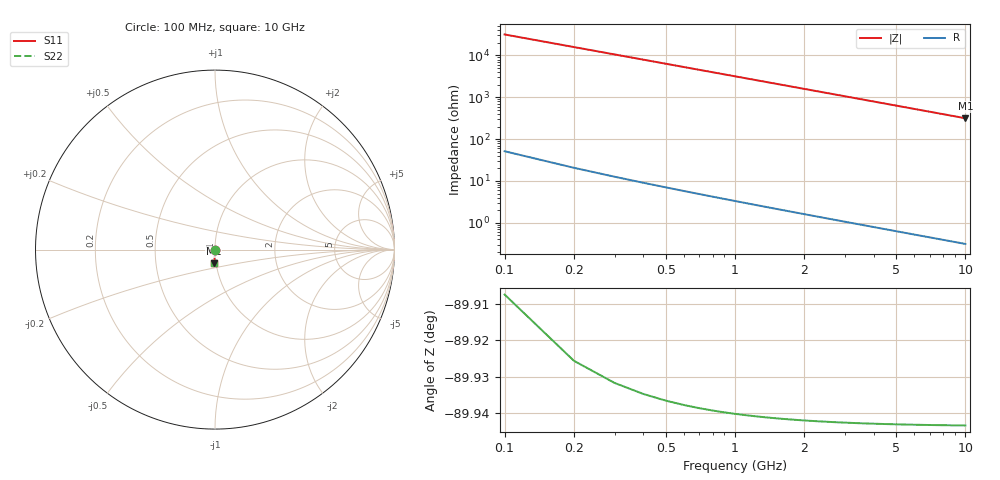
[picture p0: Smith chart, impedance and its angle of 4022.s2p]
# Hz S RI R 50.00
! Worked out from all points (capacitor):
!   100 points, 100 MHz to 10 GHz, reference 50 ohm
!   read as one part in shunt: C = 50.2 fF near 100 MHz
!   lowest |Z| = 315 ohm at 10 GHz (marker M1)
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1e8  9.64e-06 -0.000757  1 -0.000819  1 -0.000819  9.64e-06 -0.000757
2e8  7.09e-06 -0.00151  1 -0.00164  1 -0.00164  7.09e-06 -0.00151
3e8  3.28e-06 -0.00227  1 -0.00246  1 -0.00246  3.28e-06 -0.00227
4e8  -1.79e-06 -0.00303  1 -0.00328  1 -0.00328  -1.79e-06 -0.00303
5e8  -8.1e-06 -0.00379  1 -0.0041  1 -0.0041  -8.1e-06 -0.00379
6e8  -1.57e-05 -0.00454  1 -0.00491  1 -0.00491  -1.57e-05 -0.00454
7e8  -2.45e-05 -0.0053  1 -0.00573  1 -0.00573  -2.45e-05 -0.0053
8e8  -3.45e-05 -0.00606  0.9999 -0.00655  0.9999 -0.00655  -3.45e-05 -0.00606
9e8  -4.58e-05 -0.00681  0.9999 -0.00737  0.9999 -0.00737  -4.58e-05 -0.00681
1.1e9  -7.21e-05 -0.00833  0.9999 -0.00901  0.9999 -0.00901  -7.21e-05 -0.00833
1.4e9  -0.000121 -0.0106  0.9999 -0.0115  0.9999 -0.0115  -0.000121 -0.0106
1.8e9  -0.000203 -0.0136  0.9998 -0.0147  0.9998 -0.0147  -0.000203 -0.0136
2.1e9  -0.000278 -0.0159  0.9997 -0.0172  0.9997 -0.0172  -0.000278 -0.0159
2.5e9  -0.000396 -0.0189  0.9996 -0.0205  0.9996 -0.0205  -0.000396 -0.0189
2.9e9  -0.000533 -0.022  0.9994 -0.0238  0.9994 -0.0238  -0.000533 -0.022
3.4e9  -0.000733 -0.0258  0.9992 -0.0279  0.9992 -0.0279  -0.000733 -0.0258
4.2e9  -0.00112 -0.0318  0.9989 -0.0344  0.9989 -0.0344  -0.00112 -0.0318
5.1e9  -0.00165 -0.0386  0.9983 -0.0418  0.9983 -0.0418  -0.00165 -0.0386
5.9e9  -0.0022 -0.0447  0.9978 -0.0484  0.9978 -0.0484  -0.0022 -0.0447
6.7e9  -0.00284 -0.0508  0.9971 -0.0549  0.9971 -0.0549  -0.00284 -0.0508
8.4e9  -0.00445 -0.0636  0.9955 -0.0689  0.9955 -0.0689  -0.00445 -0.0636
1e10  -0.0063 -0.0756  0.9937 -0.0819  0.9937 -0.0819  -0.0063 -0.0756
